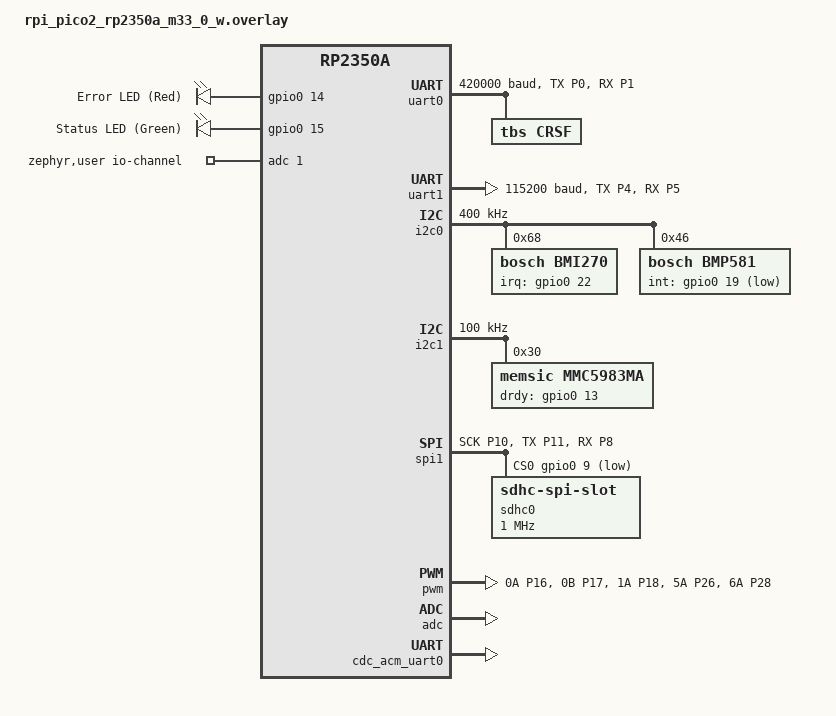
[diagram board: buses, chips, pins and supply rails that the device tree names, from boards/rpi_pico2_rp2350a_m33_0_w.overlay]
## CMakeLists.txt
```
cmake_minimum_required(VERSION 3.20.0)
set(CMAKE_EXPORT_COMPILE_COMMANDS ON)

find_package(Zephyr REQUIRED HINTS $ENV{ZEPHYR_BASE})

project(Argos_app)

file(GLOB_RECURSE app_sources CONFIGURE_DEPENDS "src/*.c")

target_sources(app PRIVATE ${app_sources})

target_include_directories(app PRIVATE inc)

target_link_libraries(app PRIVATE )
```

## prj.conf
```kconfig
CONFIG_FPU=y
CONFIG_CMSIS_DSP=y
CONFIG_HW_STACK_PROTECTION=y

CONFIG_SERIAL=y
CONFIG_CONSOLE=y
CONFIG_UART_CONSOLE=y
# CONFIG_STDOUT_CONSOLE=y
CONFIG_UART_LINE_CTRL=y

CONFIG_I2C=y
CONFIG_SENSOR=y
CONFIG_SENSOR_ASYNC_API=y
CONFIG_RTIO=y

CONFIG_BMI270=y
CONFIG_BMI270_TRIGGER_OWN_THREAD=y
CONFIG_BMP581=y
CONFIG_BMP581_STREAM=y
CONFIG_MMC5983MA=y

CONFIG_LOG=y
CONFIG_LOG_MODE_DEFERRED=y
CONFIG_LOG_DEFAULT_LEVEL=3
CONFIG_LOG_BACKEND_UART=y

CONFIG_USB_DEVICE_STACK_NEXT=y
CONFIG_CDC_ACM_SERIAL_INITIALIZE_AT_BOOT=y
CONFIG_CDC_ACM_SERIAL_PID=0x0004
CONFIG_CDC_ACM_SERIAL_PRODUCT_STRING="Flight Controller"

CONFIG_GPIO=y
# CONFIG_NETWORKING=y
# CONFIG_NET_IPV4=y
# CONFIG_NET_L2_ETHERNET=y
# CONFIG_WIFI=y
# CONFIG_MAIN_STACK_SIZE=4096
# CONFIG_NET_TX_STACK_SIZE=2048
# CONFIG_NET_RX_STACK_SIZE=2048
# CONFIG_SYSTEM_WORKQUEUE_PRIORITY=10
# CONFIG_SYSTEM_WORKQUEUE_STACK_SIZE=8192

# Stack and Buffer Sizes for Logging
CONFIG_LOG_PROCESS_THREAD_STACK_SIZE=4096
CONFIG_LOG_BUFFER_SIZE=10240
```

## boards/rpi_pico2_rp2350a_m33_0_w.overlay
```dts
#include <zephyr/dt-bindings/pinctrl/rpi-pico-rp2350a-pinctrl.h>
#include <zephyr/dt-bindings/pwm/pwm.h>
#include <zephyr/dt-bindings/gpio/gpio.h>

/ {
    chosen {
        zephyr,console = &cdc_acm_uart0;
    };

    aliases {
        led0 = &led_err;
        led1 = &led_stat;
    };

    leds {
        compatible = "gpio-leds";
        led_err: led_0 {
            gpios = <&gpio0 14 GPIO_ACTIVE_HIGH>;
            label = "Error LED (Red)";
        };
        led_stat: led_1 {
            gpios = <&gpio0 15 GPIO_ACTIVE_HIGH>;
            label = "Status LED (Green)";
        };
    };

    /* 5 wyjść PWM (50 Hz) pod serwa MG90 i regulator ESC */
    servos {
        compatible = "pwm-servo";
        pwm_out0: pwm_out0 {
            pwms = <&pwm 0 PWM_MSEC(20) PWM_POLARITY_NORMAL>; /* GP16 - pwm0_a */
            min-pulse = <PWM_USEC(1000)>;
            max-pulse = <PWM_USEC(2000)>;
        };
        pwm_out1: pwm_out1 {
            pwms = <&pwm 1 PWM_MSEC(20) PWM_POLARITY_NORMAL>; /* GP17 - pwm0_b */
            min-pulse = <PWM_USEC(1000)>;
            max-pulse = <PWM_USEC(2000)>;
        };
        pwm_out2: pwm_out2 {
            pwms = <&pwm 2 PWM_MSEC(20) PWM_POLARITY_NORMAL>; /* GP18 - pwm1_a */
            min-pulse = <PWM_USEC(1000)>;
            max-pulse = <PWM_USEC(2000)>;
        };
        pwm_out3: pwm_out3 {
            pwms = <&pwm 10 PWM_MSEC(20) PWM_POLARITY_NORMAL>; /* GP26 - pwm5_a */
            min-pulse = <PWM_USEC(1000)>;
            max-pulse = <PWM_USEC(2000)>;
        };
        pwm_out4: pwm_out4 {
            pwms = <&pwm 12 PWM_MSEC(20) PWM_POLARITY_NORMAL>; /* GP28 - pwm6_a */
            min-pulse = <PWM_USEC(1000)>;
            max-pulse = <PWM_USEC(2000)>;
        };
    };

    /* Pomiar napięcia baterii na GP27 (ADC1) */
    zephyr,user {
        io-channels = <&adc 1>;
    };
};

&pinctrl {
    uart0_default: uart0_default {
        group1 {
            pinmux = <UART0_TX_P0>;
        };
        group2 {
            pinmux = <UART0_RX_P1>;
            input-enable;
        };
    };

    uart1_default: uart1_default {
        group1 {
            pinmux = <UART1_TX_P4>;
        };
        group2 {
            pinmux = <UART1_RX_P5>;
            input-enable;
        };
    };

    i2c0_default: i2c0_default {
        group1 {
            pinmux = <I2C0_SDA_P20>, <I2C0_SCL_P21>;
            input-enable;
            input-schmitt-enable;
        };
    };

    i2c1_default: i2c1_default {
        group1 {
            pinmux = <I2C1_SDA_P6>, <I2C1_SCL_P7>;
            input-enable;
            input-schmitt-enable;
        };
    };

    spi1_default: spi1_default {
        group1 {
            pinmux = <SPI1_SCK_P10>, <SPI1_TX_P11>;
        };
        group2 {
            pinmux = <SPI1_RX_P8>;
            input-enable;
        };
    };

    pwm_default: pwm_default {
        group1 {
            pinmux = <PWM_0A_P16>, <PWM_0B_P17>, <PWM_1A_P18>,
                     <PWM_5A_P26>, <PWM_6A_P28>;
        };
    };
};

/* Odbiornik ELRS (CRSF) */
&uart0 {
    status = "okay";
    current-speed = <420000>;
    pinctrl-0 = <&uart0_default>;
    pinctrl-names = "default";

    crsf: crsf {
        compatible = "tbs,crsf";
    };
};

/* GPS u-blox M8N */
&uart1 {
    status = "okay";
    current-speed = <115200>;
    pinctrl-0 = <&uart1_default>;
    pinctrl-names = "default";
};

/* IMU + Barometr (400 kHz Fast Mode dla szybkiego próbkowania) */
&i2c0 {
    status = "okay";
    pinctrl-0 = <&i2c0_default>;
    pinctrl-names = "default";
    clock-frequency = <I2C_BITRATE_FAST>;

    bmi270: bmi270@68 {
        compatible = "bosch,bmi270";
        reg = <0x68>;
        irq-gpios = <&gpio0 22 GPIO_ACTIVE_HIGH>;
        status = "okay";
    };

    bmp581: bmp581@46 {
        compatible = "bosch,bmp581";
        reg = <0x46>;
        int-gpios = <&gpio0 19 (GPIO_ACTIVE_LOW | GPIO_PULL_UP)>;
        odr = <0x0F>;       /* 50 Hz */
        press-osr = <0x02>; /* 4x */
        temp-osr = <0x00>;  /* 1x */
        power-mode = <1>;   /* Normal */
        status = "okay";
    };
};

/* Magnetometr MMC5981 + Pitot (DiffPress) */
&i2c1 {
    status = "okay";
    pinctrl-0 = <&i2c1_default>;
    pinctrl-names = "default";
    clock-frequency = <I2C_BITRATE_STANDARD>;
    mmc5983ma: mmc5983ma@30 {
        compatible = "memsic,mmc5983ma";
        reg = <0x30>;
        drdy-gpios = <&gpio0 13 GPIO_ACTIVE_HIGH>;
        magn-odr = <50>;
        bandwidth = <1>;
        auto-set-reset;
        status = "okay";
    };
};

/* Karta microSD po SPI1 */
&spi1 {
    status = "okay";
    pinctrl-0 = <&spi1_default>;
    pinctrl-names = "default";
    cs-gpios = <&gpio0 9 GPIO_ACTIVE_LOW>;

    sdhc0: sdhc@0 {
        compatible = "zephyr,sdhc-spi-slot";
        reg = <0>;
        status = "okay";
        spi-max-frequency = <1000000>;
        mmc {
            compatible = "zephyr,sdmmc-disk";
            disk-name = "SDCARD";
            status = "okay";
        };
    };
};

&pwm {
    status = "okay";
    pinctrl-0 = <&pwm_default>;
    pinctrl-names = "default";
};

&adc {
    status = "okay";
};

&zephyr_udc0 {
    cdc_acm_uart0: cdc_acm_uart0 {
        compatible = "zephyr,cdc-acm-uart";
    };
};
```

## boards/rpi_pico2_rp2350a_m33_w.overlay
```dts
/ {
    chosen {
        zephyr,console = &cdc_acm_uart0;
    };
    leds {
        compatible = "gpio-leds";

        led0: led_0 {
            gpios = <&cyw43_gpio 0 GPIO_ACTIVE_HIGH>;
            label = "LED";
        };
    };
    aliases {
        led0 = &led0;
    };
};

&i2c0 {
    status = "okay";
    bmp581: bmp581@46 {
        compatible = "bosch,bmp581";
        reg = <0x46>;
        int-gpios = <&gpio0 19 GPIO_ACTIVE_HIGH>;
        label = "BMP581";
    };
    bmi270: bmi270@68 {
        compatible = "bosch,bmi270";
        reg = <0x68>;
        irq-gpios = <&gpio0 22 GPIO_ACTIVE_HIGH>;
        label = "BMI270";
    };
};

&zephyr_udc0 {
    cdc_acm_uart0: cdc_acm_uart0 {
        compatible = "zephyr,cdc-acm-uart";
    };
};
```

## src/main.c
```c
#include <zephyr/kernel.h>
#include <zephyr/drivers/gpio.h>
#include <zephyr/logging/log.h>

#include "sys_health.h"
#include "imu_ctl.h"
#include "baro_ctl.h"
#include "mag_ctl.h"

LOG_MODULE_REGISTER(main, LOG_LEVEL_INF);

static const struct gpio_dt_spec led_err  = GPIO_DT_SPEC_GET(DT_ALIAS(led0), gpios); /* GP14 Red */
static const struct gpio_dt_spec led_stat = GPIO_DT_SPEC_GET(DT_ALIAS(led1), gpios); /* GP15 Green */

static atomic_t error_mask = ATOMIC_INIT(0);
static atomic_t armed_state = ATOMIC_INIT(0);

void sys_err_set(enum sys_err_flag flag)   { atomic_or(&error_mask, flag); }
void sys_err_clear(enum sys_err_flag flag) { atomic_and(&error_mask, ~flag); }
atomic_val_t sys_err_get_mask(void)        { return atomic_get(&error_mask); }

void sys_set_armed(bool armed)             { atomic_set(&armed_state, armed ? 1 : 0); }
bool sys_is_armed(void)                    { return atomic_get(&armed_state) != 0; }

void k_sys_fatal_error_handler(unsigned int reason, const struct arch_esf *esf)
{

    gpio_pin_set_dt(&led_err, 1);
    gpio_pin_set_dt(&led_stat, 0);

    for (;;) {
        LOG_ERR("Fatal error %u, system halted", reason);
        k_busy_wait(500000); // half a second
    }
}
/* Aktualizacja diod wywoływana co 100 ms (10 Hz) */
static void update_status_leds(uint32_t tick)
{
    atomic_val_t err = sys_err_get_mask();
    bool red_on = false;
    bool green_on = false;

    if (err & (SYS_ERR_IMU_INIT | SYS_ERR_BARO_INIT | SYS_ERR_MAG_INIT)) {
        /* Krytyczny błąd czujnika przy starcie: szybkie miganie czerwonej (5 Hz) */
        red_on = (tick % 2) == 0;
    } else if (err & SYS_ERR_SENSOR_WDG) {
        /* Zawieszenie czujnika w trakcie pracy: podwójny błysk czerwonej */
        uint32_t phase = tick % 10;
        red_on = (phase == 0 || phase == 2);
    } else if (err & SYS_ERR_RC_LOST) {
        /* Failsafe ELRS: naprzemienne miganie czerwona / zielona */
        red_on = (tick % 4) < 2;
        green_on = !red_on;
    } else {
        /* Brak krytycznych błędów – zielona sygnalizuje stan uzbrojenia */
        if (sys_is_armed()) {
            green_on = true; /* Ciągłe zielone = UZBROJONY */
        } else {
            /* Podwójny impuls co 1 s = GOTOWY / ROZBROJONY */
            uint32_t phase = tick % 10;
            green_on = (phase == 0 || phase == 2);
        }

        /* Ostrzeżenie niekrytyczne (brak SD lub słaba bateria): krótki błysk czerwonej raz na sekundę */
        if (err & (SYS_ERR_SD_INIT | SYS_ERR_LOW_BATT)) {
            red_on = (tick % 10) == 5;
        }
    }

    gpio_pin_set_dt(&led_err, red_on ? 1 : 0);
    gpio_pin_set_dt(&led_stat, green_on ? 1 : 0);
}

int main(void)
{
    if (!gpio_is_ready_dt(&led_err) || !gpio_is_ready_dt(&led_stat)) {
        return -ENODEV;
    }

    gpio_pin_configure_dt(&led_err, GPIO_OUTPUT_INACTIVE);
    gpio_pin_configure_dt(&led_stat, GPIO_OUTPUT_INACTIVE);

    /* Krótki test obu diod przy starcie (200 ms) */
    gpio_pin_set_dt(&led_err, 1);
    gpio_pin_set_dt(&led_stat, 1);
    k_sleep(K_MSEC(200));
    gpio_pin_set_dt(&led_err, 0);
    gpio_pin_set_dt(&led_stat, 0);

    /* Inicjalizacja podsystemów – błędy zapisujemy w masce zamiast wieszać program */
    if (imu_init() < 0) {
        sys_err_set(SYS_ERR_IMU_INIT);
    }
    if (baro_init() < 0) {
        sys_err_set(SYS_ERR_BARO_INIT);
    }
    if (mag_init() < 0) {
        sys_err_set(SYS_ERR_MAG_INIT);
    }

    /* Start pętli głównej – aktualizacja diod i logowanie zmian w masce błędów */
    uint32_t tick = 0;
    atomic_val_t prev_err = 0;

    while (1) {
        atomic_val_t curr_err = sys_err_get_mask();
        if (curr_err != prev_err) {
            LOG_WRN("System error mask changed: 0x%02lx -> 0x%02lx",
                    (unsigned long)prev_err, (unsigned long)curr_err);
            prev_err = curr_err;
        }

        update_status_leds(tick++);
        k_msleep(100);
    }

    return 0;
}
```

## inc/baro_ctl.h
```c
#ifndef BARO_CTL_H_
#define BARO_CTL_H_

#include <zephyr/kernel.h>
#include <stdint.h>

struct baro_sample {
    uint32_t cycles;      /* Znacznik czasu z k_cycle_get_32() */
    float pressure_hpa;   /* [hPa] */
    float temperature_c;  /* [deg C] */
    float altitude_m;     /* [m] Wysokość względna względem punktu startu P0 */
};

int baro_init(void);
int baro_get_sample(struct baro_sample *sample, k_timeout_t timeout);
void baro_reset_ground_ref(void);

#endif /* BARO_CTL_H_ */
```

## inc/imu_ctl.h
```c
#ifndef IMU_CTL_H
#define IMU_CTL_H

#include <zephyr/kernel.h>
#include <stdint.h>

struct imu_sample {
    uint32_t cycles;
    float accel[3];        /* [m/s^2] X, Y, Z */
    float gyro[3];         /* [rad/s] X, Y, Z */
};

int imu_init(void);
int imu_get_sample(struct imu_sample *sample, k_timeout_t timeout);

#endif /* IMU_CTL_H */
```

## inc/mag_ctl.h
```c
#ifndef MAG_CTL_H_
#define MAG_CTL_H_

#include <zephyr/kernel.h>
#include <stdint.h>

struct mag_sample {
    uint32_t cycles; /* Znacznik czasu z k_cycle_get_32() */
    float mag[3];    /* [Gauss] X, Y, Z (skalibrowane o offset hard-iron) */
};

int mag_init(void);
int mag_get_sample(struct mag_sample *sample, k_timeout_t timeout);
void mag_set_hard_iron_offset(float ox, float oy, float oz);

#endif /* MAG_CTL_H_ */
```

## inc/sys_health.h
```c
#ifndef SYS_HEALTH_H_
#define SYS_HEALTH_H_

#include <zephyr/sys/atomic.h>
#include <stdbool.h>

enum sys_err_flag {
    SYS_ERR_IMU_INIT   = BIT(0), /* Błąd inicjalizacji BMI270 */
    SYS_ERR_BARO_INIT  = BIT(1), /* Błąd inicjalizacji BMP581 */
    SYS_ERR_MAG_INIT   = BIT(2), /* Błąd inicjalizacji MMC5983MA */
    SYS_ERR_SD_INIT    = BIT(3), /* Brak lub błąd karty microSD */
    SYS_ERR_SENSOR_WDG = BIT(4), /* Zatrzymanie próbek z I2C w locie */
    SYS_ERR_RC_LOST    = BIT(5), /* Brak ramek CRSF > 150 ms (failsafe) */
    SYS_ERR_LOW_BATT   = BIT(6), /* Niskie napięcie pakietu (GP27 ADC) */
};

void sys_err_set(enum sys_err_flag flag);
void sys_err_clear(enum sys_err_flag flag);
atomic_val_t sys_err_get_mask(void);

void sys_set_armed(bool armed);
bool sys_is_armed(void);

#endif /* SYS_HEALTH_H_ */
```

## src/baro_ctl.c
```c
#include "baro_ctl.h"
#include <zephyr/device.h>
#include <zephyr/drivers/sensor.h>
#include <zephyr/rtio/rtio.h>
#include <zephyr/logging/log.h>
#include <zephyr/sys/time_units.h>
#include <math.h>

LOG_MODULE_REGISTER(baro_ctl, LOG_LEVEL_INF);

#define BARO_CALIB_SAMPLES 50U /* 1 s przy ODR = 50 Hz */

static const struct device *const baro_dev = DEVICE_DT_GET(DT_NODELABEL(bmp581));

SENSOR_DT_STREAM_IODEV(bmp581_stream_iodev, DT_NODELABEL(bmp581),
                       {SENSOR_TRIG_DATA_READY, SENSOR_STREAM_DATA_INCLUDE});

RTIO_DEFINE_WITH_MEMPOOL(bmp581_rtio, 4, 4, 8, 32, 4);

K_MSGQ_DEFINE(baro_msgq, sizeof(struct baro_sample), 8, 4);

K_THREAD_STACK_DEFINE(baro_rtio_stack, 1536);
static struct k_thread baro_rtio_thread;

static volatile bool reset_calib_req = true;

void baro_reset_ground_ref(void)
{
    reset_calib_req = true;
}

static void baro_rtio_worker(void *arg1, void *arg2, void *arg3)
{
    ARG_UNUSED(arg1);
    ARG_UNUSED(arg2);
    ARG_UNUSED(arg3);

    const struct sensor_decoder_api *decoder = NULL;
    if (sensor_get_decoder(baro_dev, &decoder) < 0 || decoder == NULL) {
        LOG_ERR("Failed to get BMP581 RTIO decoder");
        return;
    }

    rtio_sqe_handle_t stream_handle;
    int ret = sensor_stream(&bmp581_stream_iodev, &bmp581_rtio, NULL, &stream_handle);
    if (ret < 0) {
        LOG_ERR("Failed to start BMP581 stream: %d", ret);
        return;
    }

    float p0_hpa = 1013.25f;
    float p0_accum = 0.0f;
    uint32_t calib_count = 0;
    bool is_calibrated = false;

    const struct sensor_chan_spec press_spec = {
        .chan_type = SENSOR_CHAN_PRESS,
        .chan_idx = 0,
    };
    const struct sensor_chan_spec temp_spec = {
        .chan_type = SENSOR_CHAN_AMBIENT_TEMP,
        .chan_idx = 0,
    };

    while (1) {
        /* Blokujące oczekiwanie na kolejną ramkę z przerwania GP19 */
        struct rtio_cqe *cqe = rtio_cqe_consume_block(&bmp581_rtio);
        int cqe_res = cqe->result;

        uint8_t *buf = NULL;
        uint32_t buf_len = 0;
        int buf_res = rtio_cqe_get_mempool_buffer(&bmp581_rtio, cqe, &buf, &buf_len);

        rtio_cqe_release(&bmp581_rtio, cqe);

        if (cqe_res < 0) {
            /* Błąd w egzekutorze RTIO kończy zadanie multishot – wznawiamy strumień */
            if (buf != NULL) {
                rtio_release_buffer(&bmp581_rtio, buf, buf_len);
            }
            LOG_WRN_RATELIMIT("BMP581 stream error (%d), restarting...", cqe_res);
            sensor_stream(&bmp581_stream_iodev, &bmp581_rtio, NULL, &stream_handle);
            continue;
        }

        if (buf_res < 0 || buf == NULL) {
            LOG_WRN_RATELIMIT("BMP581 mempool buffer error: %d", buf_res);
            continue;
        }

        uint32_t press_fit = 0;
        uint32_t temp_fit = 0;
        struct sensor_q31_data press_data = {0};
        struct sensor_q31_data temp_data = {0};

        int n_press = decoder->decode(buf, press_spec, &press_fit, 1, &press_data);
        int n_temp = decoder->decode(buf, temp_spec, &temp_fit, 1, &temp_data);

        /* Zwalniamy blok z powrotem do puli RTIO od razu po zdekodowaniu */
        rtio_release_buffer(&bmp581_rtio, buf, buf_len);

        if (n_press > 0 && n_temp > 0) {
            float press_hpa = ldexpf((float)press_data.readings[0].value,
                                     press_data.shift - 31) * 10.0f;
            float temp_c = ldexpf((float)temp_data.readings[0].value,
                                  temp_data.shift - 31);
            float alt_m = 0.0f;

            if (reset_calib_req) {
                p0_accum = 0.0f;
                calib_count = 0;
                is_calibrated = false;
                reset_calib_req = false;
            }

            if (!is_calibrated) {
                p0_accum += press_hpa;
                if (++calib_count >= BARO_CALIB_SAMPLES) {
                    p0_hpa = p0_accum / (float)BARO_CALIB_SAMPLES;
                    is_calibrated = true;
                    LOG_INF("Baro P0 calibrated: %.2f hPa", (double)p0_hpa);
                }
            } else {
                alt_m = 44330.0f * (1.0f - powf(press_hpa / p0_hpa, 0.190295f));
            }

            struct baro_sample sample = {
                .cycles = k_cycle_get_32(),
                .pressure_hpa = press_hpa,
                .temperature_c = temp_c,
                .altitude_m = alt_m,
            };

            if (k_msgq_put(&baro_msgq, &sample, K_NO_WAIT) != 0) {
                LOG_WRN_RATELIMIT("Baro msgq full, dropping sample");
            }
        }
    }
}

int baro_init(void)
{
    if (!device_is_ready(baro_dev)) {
        LOG_ERR("BMP581 device not ready");
        return -ENODEV;
    }

    baro_reset_ground_ref();

    k_thread_create(&baro_rtio_thread, baro_rtio_stack,
                    K_THREAD_STACK_SIZEOF(baro_rtio_stack),
                    baro_rtio_worker, NULL, NULL, NULL,
                    K_PRIO_COOP(7), 0, K_NO_WAIT);
    k_thread_name_set(&baro_rtio_thread, "baro_rtio");

    LOG_INF("BMP581 RTIO stream initialized (50 Hz, GP19)");
    return 0;
}

int baro_get_sample(struct baro_sample *sample, k_timeout_t timeout)
{
    return k_msgq_get(&baro_msgq, sample, timeout);
}
```

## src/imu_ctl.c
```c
#include "imu_ctl.h"
#include <zephyr/drivers/sensor.h>
#include <zephyr/logging/log.h>

LOG_MODULE_REGISTER(imu_ctl, LOG_LEVEL_INF);

static const struct device *const imu_dev = DEVICE_DT_GET(DT_NODELABEL(bmi270));

/* Bufor na 16 próbek (ok. 80 ms zapasu przy 200 Hz) */
K_MSGQ_DEFINE(imu_msgq, sizeof(struct imu_sample), 16, 4);

static void imu_drdy_callback(const struct device *dev, const struct sensor_trigger *trigger)
{
    ARG_UNUSED(trigger);

    struct sensor_value accel[3], gyro[3];

    if (sensor_sample_fetch(dev) < 0) {
        LOG_ERR("Failed to request IMU sample");
        return;
    }
    LOG_DBG("Sample fetched");
    if (sensor_channel_get(dev, SENSOR_CHAN_ACCEL_XYZ, accel) < 0 ||
        sensor_channel_get(dev, SENSOR_CHAN_GYRO_XYZ, gyro) < 0) {
        LOG_ERR("Failed to get IMU data");
        return;
    }
    LOG_DBG("Data ready");
    struct imu_sample sample = {
        .cycles = k_cycle_get_32(),
        .accel = {
            sensor_value_to_float(&accel[0]),
            sensor_value_to_float(&accel[1]),
            sensor_value_to_float(&accel[2]),
        },
        .gyro = {
            sensor_value_to_float(&gyro[0]),
            sensor_value_to_float(&gyro[1]),
            sensor_value_to_float(&gyro[2]),
        },
    };

    /* Nie blokujemy wątku triggera – jeśli konsument nie nadąża, odrzucamy najnowszą */
    if (k_msgq_put(&imu_msgq, &sample, K_NO_WAIT) != 0) {
        LOG_WRN_RATELIMIT("IMU msgq full, dropping sample");
    }
}

int imu_init(void)
{
    if (!device_is_ready(imu_dev)) {
        LOG_ERR("BMI270 device not ready");
        return -ENODEV;
    }

    struct sensor_value odr = { .val1 = 200, .val2 = 0 }; /* 200 Hz */
    struct sensor_value accel_fs, gyro_fs;

    sensor_g_to_ms2(8, &accel_fs);          /* Zakres +-8g (odporny na rzut i wibracje) */
    sensor_degrees_to_rad(1000, &gyro_fs);  /* Zakres +-1000 deg/s */

    sensor_attr_set(imu_dev, SENSOR_CHAN_ACCEL_XYZ, SENSOR_ATTR_SAMPLING_FREQUENCY, &odr);
    sensor_attr_set(imu_dev, SENSOR_CHAN_ACCEL_XYZ, SENSOR_ATTR_FULL_SCALE, &accel_fs);
    sensor_attr_set(imu_dev, SENSOR_CHAN_GYRO_XYZ, SENSOR_ATTR_SAMPLING_FREQUENCY, &odr);
    sensor_attr_set(imu_dev, SENSOR_CHAN_GYRO_XYZ, SENSOR_ATTR_FULL_SCALE, &gyro_fs);

    struct sensor_trigger trig = {
        .type = SENSOR_TRIG_DATA_READY,
        .chan = SENSOR_CHAN_ALL,
    };
    LOG_DBG("Device configured, setting trigger");
    int ret = sensor_trigger_set(imu_dev, &trig, imu_drdy_callback);
    if (ret < 0) {
        LOG_ERR("Failed to set IMU trigger: %d", ret);
        return ret;
    }
    LOG_INF("BMI270 initialized (200 Hz, +-8g, +-1000 dps)");
    return 0;
}

int imu_get_sample(struct imu_sample *sample, k_timeout_t timeout)
{
    return k_msgq_get(&imu_msgq, sample, timeout);
}
```

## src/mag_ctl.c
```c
#include "mag_ctl.h"
#include <zephyr/device.h>
#include <zephyr/drivers/sensor.h>
#include <zephyr/logging/log.h>

LOG_MODULE_REGISTER(mag_ctl, LOG_LEVEL_INF);

static const struct device *const mag_dev = DEVICE_DT_GET(DT_NODELABEL(mmc5983ma));

K_MSGQ_DEFINE(mag_msgq, sizeof(struct mag_sample), 8, 4);

static float hard_iron_offset[3] = { 0.0f, 0.0f, 0.0f };

void mag_set_hard_iron_offset(float ox, float oy, float oz)
{
    hard_iron_offset[0] = ox;
    hard_iron_offset[1] = oy;
    hard_iron_offset[2] = oz;
}

static void mag_drdy_callback(const struct device *dev, const struct sensor_trigger *trigger)
{
    ARG_UNUSED(trigger);

    struct sensor_value mag[3];

    if (sensor_sample_fetch_chan(dev, SENSOR_CHAN_MAGN_XYZ) < 0) {
        return;
    }

    if (sensor_channel_get(dev, SENSOR_CHAN_MAGN_XYZ, mag) < 0) {
        return;
    }

    struct mag_sample sample = {
        .cycles = k_cycle_get_32(),
        .mag = {
            sensor_value_to_float(&mag[0]) - hard_iron_offset[0],
            sensor_value_to_float(&mag[1]) - hard_iron_offset[1],
            sensor_value_to_float(&mag[2]) - hard_iron_offset[2],
        },
    };

    if (k_msgq_put(&mag_msgq, &sample, K_NO_WAIT) != 0) {
        LOG_WRN_RATELIMIT("Mag msgq full, dropping sample");
    }
}

int mag_init(void)
{
    if (!device_is_ready(mag_dev)) {
        LOG_ERR("MMC5983MA device not ready");
        return -ENODEV;
    }

    struct sensor_trigger trig = {
        .type = SENSOR_TRIG_DATA_READY,
        .chan = SENSOR_CHAN_MAGN_XYZ,
    };

    int ret = sensor_trigger_set(mag_dev, &trig, mag_drdy_callback);
    if (ret < 0) {
        LOG_ERR("Failed to set MMC5983MA trigger: %d", ret);
        return ret;
    }

    /* Odczyt czyszczący ewentualny wiszący stan DRDY na GP13 */
    (void)sensor_sample_fetch_chan(mag_dev, SENSOR_CHAN_MAGN_XYZ);

    LOG_INF("MMC5983MA initialized (50 Hz, trigger on GP13)");
    return 0;
}

int mag_get_sample(struct mag_sample *sample, k_timeout_t timeout)
{
    return k_msgq_get(&mag_msgq, sample, timeout);
}
```
